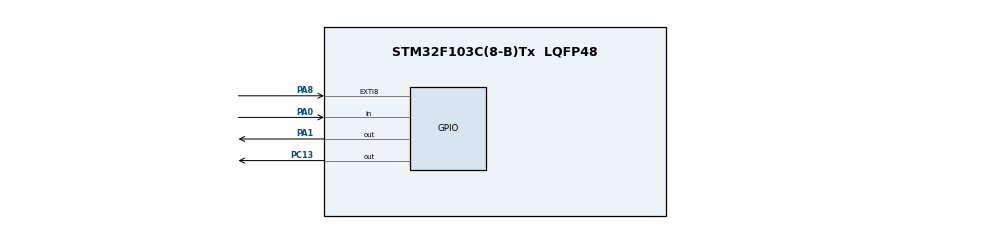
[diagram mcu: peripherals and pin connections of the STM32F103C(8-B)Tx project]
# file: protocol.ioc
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Mcu.Family=STM32F1
Mcu.Name=STM32F103C(8-B)Tx
Mcu.Package=LQFP48
NVIC.EXTI9_5_IRQn=true\:0\:0\:false\:false\:true\:true\:true\:true
NVIC.PriorityGroup=NVIC_PRIORITYGROUP_4
PA0-WKUP.Signal=GPIO_Input
PA1.PinState=GPIO_PIN_SET
PA1.Signal=GPIO_Output
PA13.Mode=Serial_Wire
PA13.Signal=SYS_JTMS-SWDIO
PA14.Mode=Serial_Wire
PA14.Signal=SYS_JTCK-SWCLK
PA8.GPIO_ModeDefaultEXTI=GPIO_MODE_IT_FALLING
PA8.GPIO_PuPd=GPIO_PULLUP
PA8.Signal=GPXTI8
PC13-TAMPER-RTC.PinState=GPIO_PIN_SET
PC13-TAMPER-RTC.Signal=GPIO_Output
PD0-OSC_IN.Mode=HSE-External-Oscillator
PD0-OSC_IN.Signal=RCC_OSC_IN
PD1-OSC_OUT.Mode=HSE-External-Oscillator
PD1-OSC_OUT.Signal=RCC_OSC_OUT
ProjectManager.HeapSize=0x200
ProjectManager.StackSize=0x400
ProjectManager.TargetToolchain=STM32CubeIDE
RCC.APB1Freq_Value=8000000
RCC.APB2Freq_Value=8000000
board=custom

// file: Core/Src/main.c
/* USER CODE BEGIN Header */
/**
  ******************************************************************************
  * @file           : main.c
  * @brief          : Single-wire half-duplex protocol for STM32F103C8T6
  *                   FIXES applied:
  *                   1. Idle line now HIGH (open-drain correct idle state)
  *                   2. PA1 reconfigured as plain INPUT (no interrupt conflict)
  *                   3. IDLE state refactored — slave detection has full priority,
  *                      no side-effect race from detect_start()
  *                   4. MASTER_SEND releases line before transitioning to WAIT_ACK
  *                   5. backoff_until only advances on busy/failed line check
  ******************************************************************************
  */
/* USER CODE END Header */
#include "main.h"

/* USER CODE BEGIN Includes */
#include <stdlib.h>
/* USER CODE END Includes */

/* USER CODE BEGIN PV */

volatile uint8_t master = 0;
volatile uint8_t conexao_estabelecida = 0;
volatile uint8_t dado_recebido = 0;
uint8_t buffer_tx[100]; // Buffer com os 100 números
/* USER CODE END PV */

void SystemClock_Config(void);
static void MX_GPIO_Init(void);

/* USER CODE BEGIN 0 */
/* USER CODE BEGIN 4 */

/**
 * @brief Gera um número pseudoaleatório de 8 bits (0 a 255)
 */
uint8_t Gerar_Byte_Aleatorio(void) {
    return (uint8_t)(rand() % 256);
}

// Envia 1 byte bit a bit + Checksum (COM START BIT)
void Enviar_Byte(uint8_t dado) {
    uint8_t pacote[2];
    pacote[0] = dado;
    pacote[1] = (uint8_t)(~dado);

    // --- START BIT ---
    // Avisa o Slave que a transmissão vai começar cravada neste milissegundo
    HAL_GPIO_WritePin(GPIOA, GPIO_PIN_1, GPIO_PIN_RESET);
    HAL_Delay(5);

    // Envia os 16 bits
    for (int j = 0; j < 2; j++) {
        for (int i = 0; i < 8; i++) {
            if ((pacote[j] >> i) & 0x01) {
                HAL_GPIO_WritePin(GPIOA, GPIO_PIN_1, GPIO_PIN_SET);
            } else {
                HAL_GPIO_WritePin(GPIOA, GPIO_PIN_1, GPIO_PIN_RESET);
            }
            HAL_Delay(5);
        }
    }
    // STOP BIT / IDLE
    HAL_GPIO_WritePin(GPIOA, GPIO_PIN_1, GPIO_PIN_SET);
    HAL_Delay(10); // Margem de segurança
}

// Recebe 1 byte bit a bit (ESPERANDO O START BIT)
uint8_t Receber_Byte_Com_Checksum(uint8_t *destino) {
    uint8_t buffer[2] = {0, 0};

    // Aguarda o Start Bit do Master (linha caindo para LOW)
    uint32_t t = HAL_GetTick();
    while(HAL_GPIO_ReadPin(GPIOA, GPIO_PIN_0) == GPIO_PIN_SET) {
        if (HAL_GetTick() - t > 100) return 0; // Timeout de segurança
    }

    // A linha caiu! Sincronizamos o relógio.
    // Esperamos 7ms para ler bem no centro do primeiro bit de dados.
    HAL_Delay(7);

    for (int j = 0; j < 2; j++) {
        for (int i = 0; i < 8; i++) {
            if (HAL_GPIO_ReadPin(GPIOA, GPIO_PIN_0) == GPIO_PIN_SET) {
                buffer[j] |= (1 << i);
            }
            HAL_Delay(5); // Pula de 5 em 5ms cravados
        }
    }

    if ((uint8_t)(buffer[0] + buffer[1]) == 0xFF) {
        *destino = buffer[0];
        return 1;
    }
    return 0;
}

void Piscar_Byte_Recebido(uint8_t dado) {
    for (int i = 0; i < 8; i++) {
        if ((dado >> i) & 0x01) {
            HAL_GPIO_WritePin(GPIOC, GPIO_PIN_13, GPIO_PIN_RESET);
            HAL_Delay(100);
        } else {
            HAL_GPIO_WritePin(GPIOC, GPIO_PIN_13, GPIO_PIN_RESET);
            HAL_Delay(20);
        }
        HAL_GPIO_WritePin(GPIOC, GPIO_PIN_13, GPIO_PIN_SET);
        HAL_Delay(50);
    }
}

void Estabelecer_Conexao(void) {
    if (master == 1) {
        for (int iteracao = 0; iteracao < 100; iteracao++) {

            // --- HANDSHAKE MASTER ---
            HAL_GPIO_WritePin(GPIOA, GPIO_PIN_1, GPIO_PIN_RESET);
            HAL_Delay(50);
            HAL_GPIO_WritePin(GPIOA, GPIO_PIN_1, GPIO_PIN_SET);

            uint32_t t_sync = HAL_GetTick();
            conexao_estabelecida = 0;
            while (HAL_GetTick() - t_sync < 100) {
                if (HAL_GPIO_ReadPin(GPIOA, GPIO_PIN_0) == GPIO_PIN_RESET) {
                    conexao_estabelecida = 1;
                    break;
                }
            }

            if (conexao_estabelecida) {
                // Espera o Slave terminar o ACK
                while(HAL_GPIO_ReadPin(GPIOA, GPIO_PIN_0) == GPIO_PIN_RESET);

                HAL_GPIO_WritePin(GPIOC, GPIO_PIN_13, GPIO_PIN_RESET); // Liga LED do Mestre
                HAL_Delay(10); // Sincronia antes de mandar os bits

                Enviar_Byte(buffer_tx[iteracao]);

                // --- AGUARDAR FINAL ACK ---
                uint32_t timeout = HAL_GetTick();
                while(HAL_GPIO_ReadPin(GPIOA, GPIO_PIN_0) == GPIO_PIN_SET) {
                    if (HAL_GetTick() - timeout > 10000) break; // Timeout longo (10s)
                }

                while(HAL_GPIO_ReadPin(GPIOA, GPIO_PIN_0) == GPIO_PIN_RESET);

                HAL_GPIO_WritePin(GPIOC, GPIO_PIN_13, GPIO_PIN_SET); // Apaga LED do Mestre
                HAL_Delay(50); // Fôlego para o próximo byte

            } else {
                for(uint8_t i = 0; i < 3; i++){
                    HAL_GPIO_TogglePin(GPIOC, GPIO_PIN_13);
                    HAL_Delay(100);
                }
                HAL_GPIO_WritePin(GPIOC, GPIO_PIN_13, GPIO_PIN_SET);
                break;
            }
        }
        master = 0;
    }
    else {
        // --- COMPORTAMENTO SLAVE ---
        if (HAL_GPIO_ReadPin(GPIOA, GPIO_PIN_0) == GPIO_PIN_RESET) {

            while(HAL_GPIO_ReadPin(GPIOA, GPIO_PIN_0) == GPIO_PIN_RESET);

            HAL_GPIO_WritePin(GPIOA, GPIO_PIN_1, GPIO_PIN_RESET);
            HAL_Delay(50);
            HAL_GPIO_WritePin(GPIOA, GPIO_PIN_1, GPIO_PIN_SET);

            if (Receber_Byte_Com_Checksum((uint8_t*)&dado_recebido)) {
                Piscar_Byte_Recebido(dado_recebido);
            } else {
                for(int i=0; i<10; i++) {
                    HAL_GPIO_TogglePin(GPIOC, GPIO_PIN_13);
                    HAL_Delay(50);
                }
            }

            // --- FINAL ACK GARANTIDO ---
            // Enviamos independente de dar certo ou errado, pro Mestre ser liberado!
            HAL_GPIO_WritePin(GPIOA, GPIO_PIN_1, GPIO_PIN_RESET);
            HAL_Delay(50);
            HAL_GPIO_WritePin(GPIOA, GPIO_PIN_1, GPIO_PIN_SET);

            while(HAL_GPIO_ReadPin(GPIOA, GPIO_PIN_0) == GPIO_PIN_RESET);
            HAL_GPIO_WritePin(GPIOC, GPIO_PIN_13, GPIO_PIN_SET);
        }
    }
}
/* USER CODE END 4 */

/* USER CODE END 0 */

int main(void)
{

  /* MCU Configuration--------------------------------------------------------*/

  /* Reset of all peripherals, Initializes the Flash interface and the Systick. */
  HAL_Init();

  /* Configure the system clock */
  SystemClock_Config();

  /* Initialize all configured peripherals */
  MX_GPIO_Init();
  /* USER CODE BEGIN 2 */
  srand(HAL_GetTick());
  // Preenche o buffer com números de 0 a 99
    for(int i = 0; i < 100; i++) {
        buffer_tx[i] = Gerar_Byte_Aleatorio();;
    }
  /* USER CODE END 2 */

  /* Infinite loop */
  /* USER CODE BEGIN WHILE */
  while (1)
  {
	Estabelecer_Conexao();

    /* USER CODE END WHILE */

  }
}

void SystemClock_Config(void)
{
  RCC_OscInitTypeDef RCC_OscInitStruct = {0};
  RCC_ClkInitTypeDef RCC_ClkInitStruct = {0};

  /** Initializes the RCC Oscillators according to the specified parameters
  * in the RCC_OscInitTypeDef structure.
  */
  RCC_OscInitStruct.OscillatorType = RCC_OSCILLATORTYPE_HSI;
  RCC_OscInitStruct.HSIState = RCC_HSI_ON;
  RCC_OscInitStruct.HSICalibrationValue = RCC_HSICALIBRATION_DEFAULT;
  RCC_OscInitStruct.PLL.PLLState = RCC_PLL_NONE;
  if (HAL_RCC_OscConfig(&RCC_OscInitStruct) != HAL_OK)
  {
    Error_Handler();
  }

  /** Initializes the CPU, AHB and APB buses clocks
  */
  RCC_ClkInitStruct.ClockType = RCC_CLOCKTYPE_HCLK|RCC_CLOCKTYPE_SYSCLK
                              |RCC_CLOCKTYPE_PCLK1|RCC_CLOCKTYPE_PCLK2;
  RCC_ClkInitStruct.SYSCLKSource = RCC_SYSCLKSOURCE_HSI;
  RCC_ClkInitStruct.AHBCLKDivider = RCC_SYSCLK_DIV1;
  RCC_ClkInitStruct.APB1CLKDivider = RCC_HCLK_DIV1;
  RCC_ClkInitStruct.APB2CLKDivider = RCC_HCLK_DIV1;

  if (HAL_RCC_ClockConfig(&RCC_ClkInitStruct, FLASH_LATENCY_0) != HAL_OK)
  {
    Error_Handler();
  }
}

static void MX_GPIO_Init(void)
{
  GPIO_InitTypeDef GPIO_InitStruct = {0};

  /* GPIO Ports Clock Enable */
  __HAL_RCC_GPIOC_CLK_ENABLE();
  __HAL_RCC_GPIOD_CLK_ENABLE();
  __HAL_RCC_GPIOA_CLK_ENABLE();

  /*Configure GPIO pin Output Level */
  HAL_GPIO_WritePin(GPIOC, GPIO_PIN_13, GPIO_PIN_SET);

  /*Configure GPIO pin Output Level */
  HAL_GPIO_WritePin(GPIOA, GPIO_PIN_1, GPIO_PIN_SET);

  /*Configure GPIO pin : PC13 */
  GPIO_InitStruct.Pin = GPIO_PIN_13;
  GPIO_InitStruct.Mode = GPIO_MODE_OUTPUT_PP;
  GPIO_InitStruct.Pull = GPIO_NOPULL;
  GPIO_InitStruct.Speed = GPIO_SPEED_FREQ_LOW;
  HAL_GPIO_Init(GPIOC, &GPIO_InitStruct);

  /*Configure GPIO pin : PA0 */
  GPIO_InitStruct.Pin = GPIO_PIN_0;
  GPIO_InitStruct.Mode = GPIO_MODE_INPUT;
  GPIO_InitStruct.Pull = GPIO_NOPULL;
  HAL_GPIO_Init(GPIOA, &GPIO_InitStruct);

  /*Configure GPIO pin : PA1 */
  GPIO_InitStruct.Pin = GPIO_PIN_1;
  GPIO_InitStruct.Mode = GPIO_MODE_OUTPUT_PP;
  GPIO_InitStruct.Pull = GPIO_NOPULL;
  GPIO_InitStruct.Speed = GPIO_SPEED_FREQ_LOW;
  HAL_GPIO_Init(GPIOA, &GPIO_InitStruct);

  /*Configure GPIO pin : PA8 */
  GPIO_InitStruct.Pin = GPIO_PIN_8;
  GPIO_InitStruct.Mode = GPIO_MODE_IT_FALLING;
  GPIO_InitStruct.Pull = GPIO_PULLUP;
  HAL_GPIO_Init(GPIOA, &GPIO_InitStruct);

  /* EXTI interrupt init*/
  HAL_NVIC_SetPriority(EXTI9_5_IRQn, 0, 0);
  HAL_NVIC_EnableIRQ(EXTI9_5_IRQn);

}

/* USER CODE BEGIN 4 */

void HAL_GPIO_EXTI_Callback(uint16_t GPIO_Pin)
{
  if (GPIO_Pin == GPIO_PIN_8)
  {
	 master = 1;
  }

  // Se a interrupção veio do PA8
  else if (GPIO_Pin == GPIO_PIN_2)
  {
    // Faz algo para o pino 2
  }
}
/* USER CODE END 4 */

void Error_Handler(void)
{
  __disable_irq();
  while (1)
  {
  }
}
